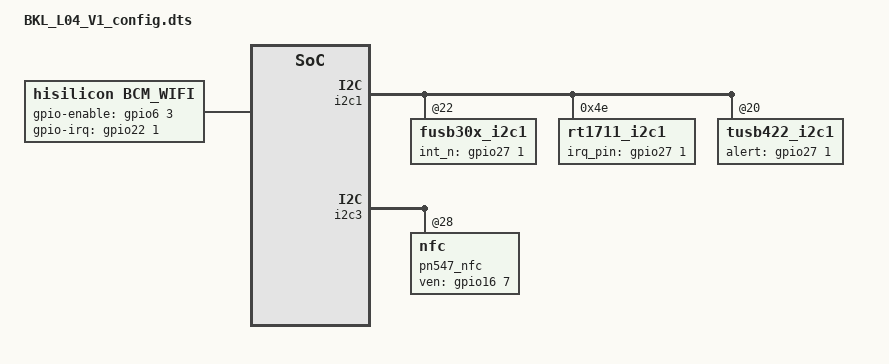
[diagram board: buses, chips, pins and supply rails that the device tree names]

/**
 * Copyright (C) 2014 Hisilicon Ltd.
 *
 *  This program is free software; you can redistribute it and/or modify
 *  it under the terms of the GNU General Public License version 2 as
 *  publishhed by the Free Software Foundation.
 */

/dts-v1/;
/include/ "fastboot.dtsi"
/include/ "huawei_connectivity.dtsi"
/include/ "huawei_gps.dtsi"
/include/ "huawei_bluetooth.dtsi"
/include/ "lcdkit/bkl_l04/devkit_lcd.dtsi"
/include/ "BKL_L09_DELETE9688_VN2_config.dtsi"
/include/ "BKL_L04_V1_pin.dtsi"
/include/ "BKL_L04_V1_sec_pin.dtsi"
/include/ "BKL_L04_V1_modem_pin.dtsi"

/ {
	hisi,boardid = <6 9 2 1>;
	hisi,boardname = "BKL_L04_V1";
	hisi,modem_id = <0x39620000>;
	hisi,product_name = "BKL-L04";
	huawei_lcd_panel: huawei,lcd_panel {
		product_id = <3003>;
		gpio_id = <9 8>;
		gpio_cfg_addr = <0xE896CF04 0xE896CF00>;
	};

	amba: amba {
		i2c1: i2c@FFD72000 {
			fusb30x_i2c1@22 {
				status = "ok";
				fairchild,int_n = <&gpio27 1 0>;
			};
			rt1711_i2c1@4e {
				reg = <0x4e>;
				status = "ok";
				rt1711,irq_pin = <&gpio27 1 0>;
			};
			tusb422_i2c1@20 {
				status = "ok";
				ti,alert-gpio = <&gpio27 1 0>;
			};
		};

		i2c3: i2c@FDF0C000 {
			pn547_nfc: nfc@28 {
				pn547,ven = <&gpio16 7 0>;
				pinctrl-names = "default","idle";
				pinctrl-0 = <&gpio135_pmx_func &gpio201_pmx_func &gpio030_cfg_func &gpio135_cfg_func &gpio201_cfg_func>;
				pinctrl-1 = <&gpio135_pmx_idle &gpio201_pmx_idle &gpio030_cfg_idle &gpio135_cfg_idle &gpio201_cfg_idle>;
			};
		};

		i2c4: i2c@FDF0D000 {
			/delete-node/ fusb30x_i2c4@22;
			/delete-node/ tusb422_i2c4@20;
			/delete-node/ rt1711_i2c4@4e;
			tusb320_typec:typec@47{
				reg = <0x47>;
				tusb320_typec,gpio_enb = <&gpio1 2 0>;
				tusb320_typec,gpio_intb = <&gpio27 5 0>;
				tusb320_gpio_enb = <1>;
				typec_trigger_otg = <1>;
				tusb320_mdelay = <50>;
				status = "disabled";
			};
			fusb301_typec: typec@21 {
				reg = <0x21>;
				fusb301_typec,gpio_enb = <&gpio1 2 0>;
				fusb301_typec,gpio_intb = <&gpio27 5 0>;
				fusb301_gpio_enb = <1>;
				typec_trigger_otg = <1>;
				status = "disabled";
			};
			pericom30216_typec: typec@1d {
				reg = <0x1d>;
				pericom30216_typec,gpio_enb = <&gpio1 2 0>;
				pericom30216_typec,gpio_intb = <&gpio27 5 0>;
				pericom30216_gpio_enb = <1>;
				typec_trigger_otg = <1>;
				pericom30216_mdelay = <50>;
				status = "disabled";
			};
			ptn5150h_typec: typec@1E {
				reg = <0x1e>;
				ptn5150h_typec,gpio_enb = <&gpio1 2 0>;
				ptn5150h_typec,gpio_intb = <&gpio27 5 0>;
				ptn5150h_gpio_enb = <1>;
				typec_trigger_otg = <1>;
				status = "disabled";
			};
		};
	};
	dwmmc2: dwmmc2@FC183000 {
		wifi_sdio_sdr104_192M;
		/delete-property/ caps-wifi-no-lowpwr;
		/delete-property/ caps2-wifi-support-cmd11;
		pinctrl-0=<>;
		pinctrl-1=<>;
	};
	bcm_wifi {
		compatible = "hisilicon,bcm_wifi";
		ic_type = "bcm43455";
		wifi_fw_test_name = "/vendor/firmware/fw_bcm43455_test_hw_apsta.bin";
		wifi_fw_ap_name = "/vendor/firmware/fw_bcm43455_apsta_hw.bin";
		wifi_fw_name = "/vendor/firmware/fw_bcm43455_hw.bin";
		wifi_nvram_name = "/vendor/firmware/nvram43455_hw_bkl_l04.txt";
		clocks = <&clk_pmu32kb>;
		clock-names = "apb_pclk";
		pinctrl-names = "default", "idle";
		pinctrl-0 = <&gpio128_pmx_func &gpio129_pmx_func &gpio130_pmx_func
			     &gpio131_pmx_func &gpio132_pmx_func &gpio133_pmx_func
			     &gpio128_cfg_func &gpio129_cfg_func &gpio130_cfg_func
			     &gpio131_cfg_func &gpio132_cfg_func &gpio133_cfg_func>;
		pinctrl-1 = <&gpio128_pmx_idle &gpio129_pmx_idle &gpio130_pmx_idle
			     &gpio131_pmx_idle &gpio132_pmx_idle &gpio133_pmx_idle
			     &gpio128_cfg_idle &gpio129_cfg_idle &gpio130_cfg_idle
			     &gpio131_cfg_idle &gpio132_cfg_idle &gpio133_cfg_idle>;
		wifi_supply_type = <0>;
		wlan-on,gpio-enable= <&gpio6 3 0>;
		wlan-irq,gpio-irq = <&gpio22 1 0>;
		status = "ok";
	};

	hw_connectivity {
		compatible = "huawei,hw_connectivity";
		/*huawei configuration*/
		chip_type = "bcm43xx";
	};

	bluetooth_power: bluetooth_power{
		status = "ok";
		huawei,bt_en = <54>;
		huawei,no_vio_switch = <1>;
	};

	bluetooth_sleep: bluetooth_sleep{
		status = "ok";
		huawei,host_wake_bt = <183>;
		huawei,bt_wake_host = <151>;
	};
	gps_power: gps_power{
		status = "ok";
		huawei,gps_en = <&gpio24 3 0>;
		huawei,gps_hostwake = <&gpio22 6 0>;
		pinctrl-0 = <&gpio012_pmx_func &gpio012_cfg_func>;
		pinctrl-1 = <&gpio012_pmx_idle &gpio012_cfg_idle>;
		huawei,gps_refclk = <5>;
		huawei,mcu_req = <&gpio24 4 0>;
		huawei,mcu_req_rsp = <&gpio27 2 0>;
		broadcom_config,ic_type="bcm4774";
		broadcom_config,tty_port="ttyAMA5";
		factest_timeout="9";
		batching,channel_type = "sensorhub";
	};
	/**irda config begin*/
	irda{
		compatible = "irda,config";
		irda,chiptype = <3>;/*hi64xx*/
	};
};
